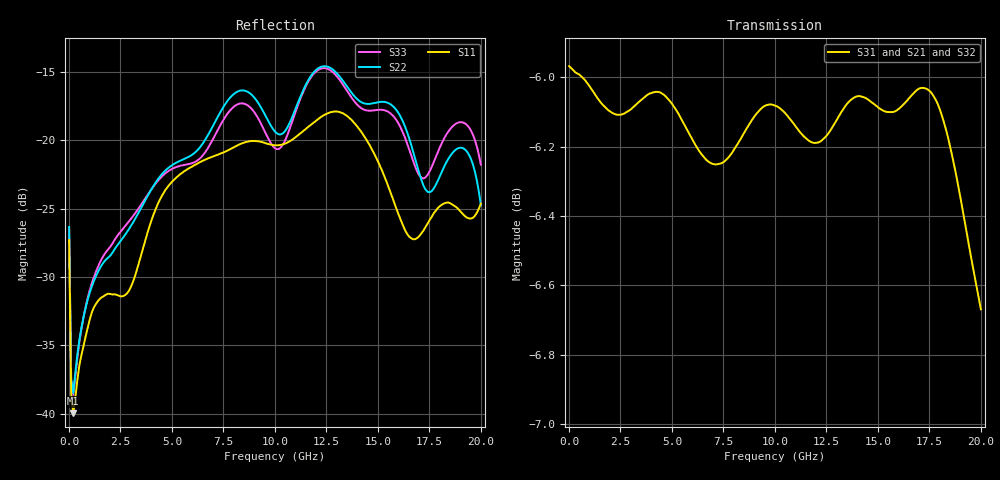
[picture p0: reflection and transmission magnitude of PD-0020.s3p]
! MARKI MICROWAVE INC.
! Email:  info@markimicrowave.com  Phone:  408-778-4200
! Model Number:  PD-0020  Date:  07/11
! Filename:		PD-0020.S3P  Version: 1.0
! Description:  3-port S-parameter data for Power Divider PD-0020
! Frequency Range: 	10 MHz to 20 GHz
! Port Configuration:	PORT 1: COMMON, PORT 2 and Port 3: Output
! S3P File: Measurements: Mag<S11> Ang<S11> Mag<S12> Ang<S12> Mag<S13> Ang<S13>! row 1
!  Mag<S21> Ang<S21> Mag<S22> Ang<S22> Mag<S23> Ang<S23>! row 2
!  Mag<S31> Ang<S31> Mag<S32> Ang<S32> Mag<S33> Ang<S33>! row 3
# GHz S DB R 50
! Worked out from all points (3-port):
!   201 points, 10 MHz to 20 GHz, reference 50 ohm
!   strongest paths, dB at 10 MHz, 5.01 GHz, 10.01 GHz, 15.01 GHz, 20 GHz:
!     S31: -6.0, -6.1, -6.1, -6.1, -6.7
!     S21: -6.0, -6.0, -6.1, -6.1, -6.5
!     S32: -6.0, -6.2, -6.3, -6.4, -6.5
!   lowest |S11| = -40.0 dB at 210 MHz (marker M1), VSWR 1.02, Z = 50.3 + j0.962 ohm
!   |S11| at or under -10 dB: start of sweep to end of sweep
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0.01  -27.31 93.2  -5.95 -0.1  -5.95 -0.1
      -5.97 -0.4  -26.34 89.1  -5.98 -0.6
      -5.97 -0.2  -5.99 -0.8  -26.43 91.7
0.21  -39.97 72.3  -5.98 -4.6  -5.98 -4.6
      -5.98 -4.6  -38.49 60.0  -6.02 -11.2
      -5.98 -4.6  -6.02 -11.2  -38.62 61.4
3.21  -29.93 39.8  -6.05 -67.4  -6.08 -67.2
      -6.05 -67.3  -25.77 -4.6  -6.23 -168.3
      -6.08 -67.2  -6.23 -168.3  -25.36 4.5
5.11  -22.88 14.2  -6.05 -108.2  -6.09 -107.7
      -6.05 -108.1  -21.73 -58.2  -6.20 92.5
      -6.09 -107.7  -6.20 92.5  -22.03 -48.3
6.81  -21.31 17.5  -6.24 -143.6  -6.25 -142.9
      -6.24 -143.6  -19.48 -108.1  -6.23 3.1
      -6.24 -142.9  -6.23 3.2  -20.43 -103.0
10.01  -20.38 -32.4  -6.15 149.6  -6.08 150.3
       -6.15 149.7  -19.39 177.4  -6.29 -163.3
       -6.08 150.3  -6.29 -163.3  -20.61 169.5
11.91  -18.68 -53.5  -6.25 109.8  -6.19 110.3
       -6.25 109.8  -15.01 109.4  -6.41 96.1
       -6.19 110.4  -6.41 96.1  -15.11 103.6
13.81  -18.67 -78.3  -6.12 69.8  -6.06 70.3
       -6.12 69.9  -16.70 74.1  -6.49 -2.7
       -6.06 70.3  -6.48 -2.7  -17.08 69.0
17.41  -26.11 -131.5  -6.08 -7.9  -6.04 -7.9
       -6.07 -7.9  -23.78 -25.2  -6.36 168.4
       -6.03 -7.8  -6.36 168.4  -22.55 -49.2
20  -24.64 -137.2  -6.54 -65.1  -6.67 -65.3
    -6.54 -65.1  -24.76 -34.0  -6.53 29.9
    -6.67 -65.3  -6.53 30.0  -21.80 -66.4
